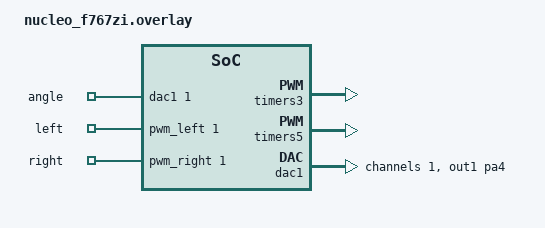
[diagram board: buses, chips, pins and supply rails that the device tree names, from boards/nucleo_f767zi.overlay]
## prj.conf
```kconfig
CONFIG_CONSOLE=y
CONFIG_PRINTK=y
CONFIG_SERIAL=y
CONFIG_UART_CONSOLE=y
CONFIG_SHELL=y
CONFIG_SHELL_BACKEND_SERIAL=y
CONFIG_SHELL_PROMPT_UART="plant> "

CONFIG_GPIO=y
CONFIG_PWM=y
CONFIG_PWM_CAPTURE=y
CONFIG_DAC=y
```

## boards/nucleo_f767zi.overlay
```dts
/ {
	zephyr,user {
		pwms = <&pwm_left 1 20000000 PWM_POLARITY_NORMAL>,
		       <&pwm_right 1 20000000 PWM_POLARITY_NORMAL>;
		pwm-names = "left", "right";
		io-channels = <&dac1 1>;
		io-channel-names = "angle";
	};
};

&timers3 {
	st,prescaler = <107>;
	status = "okay";

	pwm_left: pwm {
		status = "okay";
		pinctrl-0 = <&tim3_ch1_pb4>;
		pinctrl-names = "default";
	};
};

&timers5 {
	st,prescaler = <107>;
	status = "okay";

	pwm_right: pwm {
		status = "okay";
		pinctrl-0 = <&tim5_ch1_pa0>;
		pinctrl-names = "default";
	};
};

&dac1 {
	status = "okay";
	pinctrl-0 = <&dac_out1_pa4>;
	pinctrl-names = "default";
	#address-cells = <1>;
	#size-cells = <0>;

	channel@1 {
		reg = <1>;
		zephyr,resolution = <12>;
		zephyr,buffered;
	};
};
```

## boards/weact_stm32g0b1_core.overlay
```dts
/ {
	zephyr,user {
		pwms = <&pwm_left 0 20000000 PWM_POLARITY_NORMAL>,
		       <&pwm_right 0 20000000 PWM_POLARITY_NORMAL>;
		pwm-names = "left", "right";
		io-channels = <&dac1 1>;
		io-channel-names = "angle";
	};
};

&timers3 {
	st,prescaler = <63>;
	status = "okay";

	pwm_left: pwm {
		status = "okay";
		pinctrl-0 = <&tim3_ch1_pb4>;
		pinctrl-names = "default";
	};
};

&timers15 {
	st,prescaler = <63>;
	status = "okay";

	pwm_right: pwm {
		status = "okay";
		pinctrl-0 = <&tim15_ch1_pb14>;
		pinctrl-names = "default";
	};
};

&dac1 {
	status = "okay";
	pinctrl-0 = <&dac1_out1_pa4>;
	pinctrl-names = "default";
	#address-cells = <1>;
	#size-cells = <0>;

	channel@1 {
		reg = <1>;
		zephyr,resolution = <12>;
		zephyr,buffered;
	};
};
```

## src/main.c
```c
#include <errno.h>
#include <math.h>
#include <stdint.h>
#include <string.h>

#include <zephyr/device.h>
#include <zephyr/devicetree/io-channels.h>
#include <zephyr/drivers/dac.h>
#include <zephyr/drivers/pwm.h>
#include <zephyr/drivers/uart.h>
#include <zephyr/kernel.h>
#include <zephyr/shell/shell.h>
#include <zephyr/sys/printk.h>
#include <zephyr/sys/util.h>

#define APP_NODE DT_PATH(zephyr_user)

#if !DT_NODE_EXISTS(APP_NODE)
#error "Missing zephyr,user node"
#endif

#define PI_F 3.14159265358979323846f

static const struct pwm_dt_spec pwm_left = PWM_DT_SPEC_GET_BY_NAME(APP_NODE, left);
static const struct pwm_dt_spec pwm_right = PWM_DT_SPEC_GET_BY_NAME(APP_NODE, right);

#define ANGLE_DAC_NODE DT_PHANDLE_BY_NAME(APP_NODE, io_channels, angle)
#define ANGLE_DAC_CHANNEL DT_PHA_BY_NAME(APP_NODE, io_channels, angle, output)

#define ANGLE_DAC_RESOLUTION 12U

static const struct device *const angle_dac_dev = DEVICE_DT_GET(ANGLE_DAC_NODE);
static const struct dac_channel_cfg angle_dac_cfg = {
	.channel_id = ANGLE_DAC_CHANNEL,
	.resolution = ANGLE_DAC_RESOLUTION,
	.buffered = true,
};

#define SAMPLE_TIME_MS 50U
#define CAPTURE_TIMEOUT_MS 60U
#define CAPTURE_STALE_LIMIT 5U

#define POT_ADC_CENTER 512.0f
#define POT_ADC_COUNTS_PER_RAD (516.0f / PI_F)
#define ADC_10BIT_MAX 1023.0f

#define ESC_MIN_PULSE_US 1000U
#define ESC_BIDIR_CENTER_PULSE_US 1500U
#define ESC_MAX_PULSE_US 2000U

struct plant_model {
	float b;
	float m;
	float l;
	float g;
	float x;
	float j;
	float gain;
};

struct plant_state {
	float theta_rad;
	float omega_rad_s;
	float left_cmd;
	float right_cmd;
	uint32_t left_period_us;
	uint32_t right_period_us;
	uint32_t left_pulse_us;
	uint32_t right_pulse_us;
};

enum plant_run_state {
	PLANT_STATE_STANDBY,
	PLANT_STATE_ARMED,
	PLANT_STATE_RUNNING,
};

struct dashboard_snapshot {
	enum plant_run_state state;
	uint32_t left_pulse_us;
	uint32_t right_pulse_us;
	float left_cmd;
	float right_cmd;
	float angle_rad;
	uint16_t raw_adc;
	uint16_t dac_code;
};

struct timing_stats {
	uint32_t cycles;
	uint32_t deadline_misses;
	uint32_t last_exec_ms;
	uint32_t max_exec_ms;
	uint64_t exec_sum_ms;
	uint32_t last_dt_ms;
	uint32_t min_dt_ms;
	uint32_t max_dt_ms;
};

struct capture_counters {
	uint32_t ok;
	uint32_t eagain;
	uint32_t ebusy;
	uint32_t other;
	int32_t last_ret;
};

struct pwm_input_state {
	uint32_t period_us;
	uint32_t pulse_us;
	float command;
	uint8_t stale_count;
	bool valid;
};

static volatile struct dashboard_snapshot dashboard = {
	.state = PLANT_STATE_STANDBY,
	.left_pulse_us = ESC_MIN_PULSE_US,
	.right_pulse_us = ESC_MIN_PULSE_US,
};
static volatile bool plant_reset_requested;
static volatile bool esc_bidir_enabled;
static volatile bool dashboard_exit_requested;
static volatile bool dashboard_active;
static const struct shell *dashboard_shell;
static struct k_thread dashboard_thread;
static struct k_thread left_capture_thread;
static struct k_thread right_capture_thread;
static struct timing_stats timing = {
	.min_dt_ms = UINT32_MAX,
};
static struct capture_counters capture_left_stats;
static struct capture_counters capture_right_stats;
static struct pwm_input_state left_input = {
	.period_us = 20000U,
	.pulse_us = ESC_MIN_PULSE_US,
	.command = 0.0f,
	.stale_count = CAPTURE_STALE_LIMIT + 1U,
	.valid = false,
};
static struct pwm_input_state right_input = {
	.period_us = 20000U,
	.pulse_us = ESC_MIN_PULSE_US,
	.command = 0.0f,
	.stale_count = CAPTURE_STALE_LIMIT + 1U,
	.valid = false,
};
static struct k_spinlock input_lock;
K_THREAD_STACK_DEFINE(dashboard_thread_stack, 2048);
K_THREAD_STACK_DEFINE(left_capture_thread_stack, 1024);
K_THREAD_STACK_DEFINE(right_capture_thread_stack, 1024);

static const struct plant_model model = {
	.b = 0.25e-1f,
	.m = 0.70f,
	.l = 0.45f,
	.g = 9.81f,
	.x = 0.012f,
	.j = (0.70f * (2.0f * 0.45f) * (2.0f * 0.45f)) / 12.0f,
	.gain = 0.0016f * ((0.70f * (2.0f * 0.45f) * (2.0f * 0.45f)) / 12.0f) * 0.9f * 10000.0f,
};

static const char *run_state_name(enum plant_run_state state)
{
	switch (state) {
	case PLANT_STATE_STANDBY:
		return "standby";
	case PLANT_STATE_ARMED:
		return "armed";
	case PLANT_STATE_RUNNING:
		return "running";
	default:
		return "unknown";
	}
}

static int capture_pwm_usec(const struct pwm_dt_spec *spec, uint32_t *period_us, uint32_t *pulse_us)
{
	uint64_t period = 0U;
	uint64_t pulse = 0U;
	int ret = pwm_capture_usec(spec->dev, spec->channel,
				   PWM_CAPTURE_TYPE_BOTH | PWM_CAPTURE_MODE_SINGLE | spec->flags,
				   &period, &pulse, Z_TIMEOUT_MS(CAPTURE_TIMEOUT_MS));

	if (ret == 0) {
		*period_us = (uint32_t)period;
		*pulse_us = (uint32_t)pulse;
	}

	return ret;
}

static float esc_pulse_to_command(uint32_t pulse_us)
{
	uint32_t clamped = CLAMP(pulse_us, ESC_MIN_PULSE_US, ESC_MAX_PULSE_US);

	if (esc_bidir_enabled) {
		if (clamped == ESC_BIDIR_CENTER_PULSE_US) {
			return 0.0f;
		}

		if (clamped > ESC_BIDIR_CENTER_PULSE_US) {
			return (float)(clamped - ESC_BIDIR_CENTER_PULSE_US) /
			       (float)(ESC_MAX_PULSE_US - ESC_BIDIR_CENTER_PULSE_US);
		}

		return -((float)(ESC_BIDIR_CENTER_PULSE_US - clamped) /
			 (float)(ESC_BIDIR_CENTER_PULSE_US - ESC_MIN_PULSE_US));
	}

	if (clamped <= ESC_MIN_PULSE_US) {
		return 0.0f;
	}

	return (float)(clamped - ESC_MIN_PULSE_US) /
	       (float)(ESC_MAX_PULSE_US - ESC_MIN_PULSE_US);
}

static bool update_motor_command(const struct pwm_dt_spec *spec,
				 uint32_t *period_us,
				 uint32_t *pulse_us,
				 float *command,
				 uint8_t *stale_count,
				 struct capture_counters *counters)
{
	int ret = capture_pwm_usec(spec, period_us, pulse_us);
	counters->last_ret = ret;

	if (ret == -EBUSY) {
		counters->ebusy++;
		pwm_disable_capture(spec->dev, spec->channel);
		*command = 0.0f;
		*stale_count = CAPTURE_STALE_LIMIT + 1U;
		return false;
	}

	if (ret == -EAGAIN) {
		counters->eagain++;
		if (*stale_count < UINT8_MAX) {
			(*stale_count)++;
		}

		if (*stale_count > CAPTURE_STALE_LIMIT) {
			*command = 0.0f;
			return false;
		}

		return true;
	}

	if (ret != 0) {
		counters->other++;
		*command = 0.0f;
		*stale_count = CAPTURE_STALE_LIMIT + 1U;
		return false;
	}

	counters->ok++;
	*command = esc_pulse_to_command(*pulse_us);
	*stale_count = 0U;
	return true;
}

static void reset_pwm_input_state(struct pwm_input_state *input)
{
	input->period_us = 20000U;
	input->pulse_us = ESC_MIN_PULSE_US;
	input->command = 0.0f;
	input->stale_count = CAPTURE_STALE_LIMIT + 1U;
	input->valid = false;
}

static void pwm_capture_thread_fn(void *arg1, void *arg2, void *arg3)
{
	const struct pwm_dt_spec *spec = arg1;
	struct pwm_input_state *input = arg2;
	struct capture_counters *counters = arg3;
	uint32_t period_us = 20000U;
	uint32_t pulse_us = ESC_MIN_PULSE_US;
	float command = 0.0f;
	uint8_t stale_count = CAPTURE_STALE_LIMIT + 1U;

	while (1) {
		bool valid = update_motor_command(spec, &period_us, &pulse_us, &command,
						  &stale_count, counters);
		k_spinlock_key_t key = k_spin_lock(&input_lock);
		input->period_us = period_us;
		input->pulse_us = pulse_us;
		input->command = command;
		input->stale_count = stale_count;
		input->valid = valid;
		k_spin_unlock(&input_lock, key);
	}
}

static void reset_capture_stats(void)
{
	capture_left_stats.ok = 0U;
	capture_left_stats.eagain = 0U;
	capture_left_stats.ebusy = 0U;
	capture_left_stats.other = 0U;
	capture_left_stats.last_ret = 0;

	capture_right_stats.ok = 0U;
	capture_right_stats.eagain = 0U;
	capture_right_stats.ebusy = 0U;
	capture_right_stats.other = 0U;
	capture_right_stats.last_ret = 0;
}

static enum plant_run_state detect_run_state(bool left_valid, bool right_valid,
					     const struct plant_state *state)
{
	if (!left_valid || !right_valid) {
		return PLANT_STATE_STANDBY;
	}

	if ((state->left_cmd != 0.0f) || (state->right_cmd != 0.0f)) {
		return PLANT_STATE_RUNNING;
	}

	return PLANT_STATE_ARMED;
}

static void print_run_state(enum plant_run_state state)
{
	printk("%s\n", run_state_name(state));
}

static void step_plant(struct plant_state *state, float dt_s)
{
	const float torque_term = model.gain * (state->left_cmd - state->right_cmd);
	const float damping_term = model.b * state->omega_rad_s;
	const float gravity_term = model.m * model.g * model.x * sinf(state->theta_rad);
	const float alpha_rad_s2 = (torque_term - damping_term - gravity_term) / model.j;

	state->omega_rad_s += alpha_rad_s2 * dt_s;
	state->theta_rad += state->omega_rad_s * dt_s;
	state->theta_rad = CLAMP(state->theta_rad, -PI_F, PI_F);
}

static void reset_timing_stats(void)
{
	timing.cycles = 0U;
	timing.deadline_misses = 0U;
	timing.last_exec_ms = 0U;
	timing.max_exec_ms = 0U;
	timing.exec_sum_ms = 0U;
	timing.last_dt_ms = 0U;
	timing.min_dt_ms = UINT32_MAX;
	timing.max_dt_ms = 0U;
}

static void update_timing_stats(uint32_t exec_ms, uint32_t dt_ms, bool deadline_missed)
{
	timing.cycles++;
	timing.last_exec_ms = exec_ms;
	timing.max_exec_ms = MAX(timing.max_exec_ms, exec_ms);
	timing.exec_sum_ms += exec_ms;
	timing.last_dt_ms = dt_ms;
	timing.min_dt_ms = MIN(timing.min_dt_ms, dt_ms);
	timing.max_dt_ms = MAX(timing.max_dt_ms, dt_ms);

	if (deadline_missed) {
		timing.deadline_misses++;
	}
}

static uint16_t angle_to_dac_code(float theta_rad)
{
	float clamped_adc = CLAMP(POT_ADC_CENTER + theta_rad * POT_ADC_COUNTS_PER_RAD,
				  0.0f, ADC_10BIT_MAX);
	float dac_counts = (clamped_adc / ADC_10BIT_MAX) * 4095.0f;

	return (uint16_t)CLAMP((int)lroundf(dac_counts), 0, 4095);
}

static uint16_t angle_to_raw_adc(float theta_rad)
{
	float adc_counts = POT_ADC_CENTER + theta_rad * POT_ADC_COUNTS_PER_RAD;

	return (uint16_t)CLAMP((int)lroundf(adc_counts), 0, (int)ADC_10BIT_MAX);
}

static void dashboard_bypass_cb(const struct shell *sh, uint8_t *data, size_t len, void *user_data)
{
	ARG_UNUSED(sh);
	ARG_UNUSED(data);
	ARG_UNUSED(len);
	ARG_UNUSED(user_data);

	dashboard_exit_requested = true;
}

static void dashboard_thread_fn(void *arg1, void *arg2, void *arg3)
{
	const struct shell *sh = arg1;

	ARG_UNUSED(arg2);
	ARG_UNUSED(arg3);

	while (!dashboard_exit_requested) {
		int32_t angle_cdeg = (int32_t)lroundf((dashboard.angle_rad * 18000.0f) / PI_F);
		int32_t left_pct_tenths = (int32_t)lroundf(dashboard.left_cmd * 1000.0f);
		int32_t right_pct_tenths = (int32_t)lroundf(dashboard.right_cmd * 1000.0f);

		shell_fprintf(sh, SHELL_NORMAL,
			      "\033[2J\033[H"
			      "HIL dashboard\n"
			      "state: %s\n"
			      "esc mode   : %s\n"
			      "left input : %4u us  %4d.%1u %%\n"
			      "right input: %4u us  %4d.%1u %%\n"
			      "raw adc    : %4u\n"
			      "angle      : %4d.%02d deg\n"
			      "dac value  : %4u\n",
			      run_state_name(dashboard.state),
			      esc_bidir_enabled ? "bidir" : "forward",
			      dashboard.left_pulse_us,
			      left_pct_tenths / 10,
			      (left_pct_tenths < 0) ? -(left_pct_tenths % 10) : (left_pct_tenths % 10),
			      dashboard.right_pulse_us,
			      right_pct_tenths / 10,
			      (right_pct_tenths < 0) ? -(right_pct_tenths % 10) : (right_pct_tenths % 10),
			      dashboard.raw_adc,
			      angle_cdeg / 100,
			      (angle_cdeg < 0) ? -(angle_cdeg % 100) : (angle_cdeg % 100),
			      dashboard.dac_code);
		k_msleep(200);
	}

	shell_set_bypass(sh, NULL, NULL);
	shell_print(sh, "dashboard stopped");
	dashboard_active = false;
	dashboard_shell = NULL;
}

static void reset_plant_state(struct plant_state *state)
{
	state->theta_rad = 0.0f;
	state->omega_rad_s = 0.0f;
	state->left_cmd = 0.0f;
	state->right_cmd = 0.0f;
	state->left_period_us = 20000U;
	state->right_period_us = 20000U;
	state->left_pulse_us = ESC_MIN_PULSE_US;
	state->right_pulse_us = ESC_MIN_PULSE_US;
}

static int cmd_dashboard(const struct shell *sh, size_t argc, char **argv)
{
	ARG_UNUSED(argc);
	ARG_UNUSED(argv);

	if (dashboard_active) {
		shell_error(sh, "dashboard already running");
		return -EBUSY;
	}

	shell_print(sh, "Press any key to stop");
	dashboard_active = true;
	dashboard_shell = sh;
	dashboard_exit_requested = false;
	shell_set_bypass(sh, dashboard_bypass_cb, NULL);

	k_thread_create(&dashboard_thread, dashboard_thread_stack,
			K_THREAD_STACK_SIZEOF(dashboard_thread_stack),
			dashboard_thread_fn, (void *)sh, NULL, NULL,
			K_LOWEST_APPLICATION_THREAD_PRIO, 0, K_NO_WAIT);

	return 0;
}

static int cmd_plant_reset(const struct shell *sh, size_t argc, char **argv)
{
	ARG_UNUSED(argc);
	ARG_UNUSED(argv);

	plant_reset_requested = true;
	shell_print(sh, "plant reset requested");

	return 0;
}

static int cmd_plant_esc_set_bidir_on(const struct shell *sh, size_t argc, char **argv)
{
	ARG_UNUSED(argc);
	ARG_UNUSED(argv);

	esc_bidir_enabled = true;
	shell_print(sh, "ESC bidirectional mode enabled");

	return 0;
}

static int cmd_plant_esc_set_bidir_off(const struct shell *sh, size_t argc, char **argv)
{
	ARG_UNUSED(argc);
	ARG_UNUSED(argv);

	esc_bidir_enabled = false;
	shell_print(sh, "ESC bidirectional mode disabled");

	return 0;
}

static int cmd_plant_timing(const struct shell *sh, size_t argc, char **argv)
{
	uint32_t avg_exec_ms;
	uint32_t last_util_tenths;
	uint32_t avg_util_tenths;
	uint32_t max_util_tenths;
	int32_t worst_slack_ms;

	if ((argc > 1) && (strcmp(argv[1], "reset") == 0)) {
		reset_timing_stats();
		shell_print(sh, "timing stats reset");
		return 0;
	}

	if (timing.cycles == 0U) {
		shell_print(sh, "timing: no samples yet");
		return 0;
	}

	avg_exec_ms = (uint32_t)(timing.exec_sum_ms / timing.cycles);
	last_util_tenths = (timing.last_exec_ms * 1000U) / SAMPLE_TIME_MS;
	avg_util_tenths = (avg_exec_ms * 1000U) / SAMPLE_TIME_MS;
	max_util_tenths = (timing.max_exec_ms * 1000U) / SAMPLE_TIME_MS;
	worst_slack_ms = (int32_t)SAMPLE_TIME_MS - (int32_t)timing.max_exec_ms;

	shell_print(sh,
			"timing: cycles=%u misses=%u last_exec=%u ms avg_exec=%u ms max_exec=%u ms last_dt=%u ms min_dt=%u ms max_dt=%u ms",
			timing.cycles,
			timing.deadline_misses,
			timing.last_exec_ms,
			avg_exec_ms,
			timing.max_exec_ms,
			timing.last_dt_ms,
			timing.min_dt_ms,
			timing.max_dt_ms);
	shell_print(sh,
			"budget: last=%u.%u%% avg=%u.%u%% max=%u.%u%% worst_slack=%d ms",
			last_util_tenths / 10U,
			last_util_tenths % 10U,
			avg_util_tenths / 10U,
			avg_util_tenths % 10U,
			max_util_tenths / 10U,
			max_util_tenths % 10U,
			worst_slack_ms);

	return 0;
}

static int cmd_plant_capture(const struct shell *sh, size_t argc, char **argv)
{
	if ((argc > 1) && (strcmp(argv[1], "reset") == 0)) {
		reset_capture_stats();
		shell_print(sh, "capture stats reset");
		return 0;
	}

	shell_print(sh,
			"capture left : ok=%u eagain=%u ebusy=%u other=%u last_ret=%d",
			capture_left_stats.ok,
			capture_left_stats.eagain,
			capture_left_stats.ebusy,
			capture_left_stats.other,
			capture_left_stats.last_ret);
	shell_print(sh,
			"capture right: ok=%u eagain=%u ebusy=%u other=%u last_ret=%d",
			capture_right_stats.ok,
			capture_right_stats.eagain,
			capture_right_stats.ebusy,
			capture_right_stats.other,
			capture_right_stats.last_ret);

	return 0;
}

SHELL_STATIC_SUBCMD_SET_CREATE(sub_plant_esc_set_bidir,
	SHELL_CMD(on, NULL, "Enable bidirectional ESC input mode", cmd_plant_esc_set_bidir_on),
	SHELL_CMD(off, NULL, "Disable bidirectional ESC input mode", cmd_plant_esc_set_bidir_off),
	SHELL_SUBCMD_SET_END
);

SHELL_STATIC_SUBCMD_SET_CREATE(sub_plant_esc_set,
	SHELL_CMD(bidir, &sub_plant_esc_set_bidir, "Set ESC bidirectional mode", NULL),
	SHELL_SUBCMD_SET_END
);

SHELL_STATIC_SUBCMD_SET_CREATE(sub_plant_esc,
	SHELL_CMD(set, &sub_plant_esc_set, "ESC settings", NULL),
	SHELL_SUBCMD_SET_END
);

SHELL_STATIC_SUBCMD_SET_CREATE(sub_plant,
	SHELL_CMD(dashboard, NULL, "Show live plant dashboard; press any key to stop",
		  cmd_dashboard),
	SHELL_CMD(reset, NULL, "Reset plant state to zero", cmd_plant_reset),
	SHELL_CMD(timing, NULL, "Show timing stats; use 'plant timing reset' to clear",
		  cmd_plant_timing),
	SHELL_CMD(capture, NULL, "Show capture stats; use 'plant capture reset' to clear",
		  cmd_plant_capture),
	SHELL_CMD(esc, &sub_plant_esc, "ESC configuration commands", NULL),
	SHELL_SUBCMD_SET_END
);

SHELL_CMD_REGISTER(plant, &sub_plant, "Plant control commands", NULL);

int main(void)
{
	struct plant_state state = {
		.left_period_us = 2040U,
		.right_period_us = 2040U,
		.left_pulse_us = ESC_MIN_PULSE_US,
		.right_pulse_us = ESC_MIN_PULSE_US,
	};
	enum plant_run_state current_state = PLANT_STATE_STANDBY;
	int64_t last_step_ms;
	int64_t next_release_ms;
	int ret;

	if (!pwm_is_ready_dt(&pwm_left) || !pwm_is_ready_dt(&pwm_right)) {
		printk("PWM capture device not ready\n");
		return 0;
	}

	if (!device_is_ready(angle_dac_dev)) {
		printk("DAC device not ready\n");
		return 0;
	}

	ret = dac_channel_setup(angle_dac_dev, &angle_dac_cfg);
	if (ret != 0) {
		printk("DAC channel setup failed: %d\n", ret);
		return 0;
	}

	ret = dac_write_value(angle_dac_dev, angle_dac_cfg.channel_id,
			      angle_to_dac_code(0.0f));
	if (ret != 0) {
		printk("Initial DAC write failed: %d\n", ret);
		return 0;
	}

	printk("HIL plant started on %s\n", CONFIG_BOARD_TARGET);
	printk("Console: board default UART @ 115200\n");
	printk("PWM in: left=PB4 right=PA0, DAC out: PA4\n");
	print_run_state(current_state);

	reset_timing_stats();
	reset_capture_stats();
	reset_pwm_input_state(&left_input);
	reset_pwm_input_state(&right_input);
	k_thread_create(&left_capture_thread, left_capture_thread_stack,
			K_THREAD_STACK_SIZEOF(left_capture_thread_stack),
			pwm_capture_thread_fn, (void *)&pwm_left, (void *)&left_input,
			(void *)&capture_left_stats, K_LOWEST_APPLICATION_THREAD_PRIO,
			0, K_NO_WAIT);
	k_thread_create(&right_capture_thread, right_capture_thread_stack,
			K_THREAD_STACK_SIZEOF(right_capture_thread_stack),
			pwm_capture_thread_fn, (void *)&pwm_right, (void *)&right_input,
			(void *)&capture_right_stats, K_LOWEST_APPLICATION_THREAD_PRIO,
			0, K_NO_WAIT);
	last_step_ms = k_uptime_get();
	next_release_ms = last_step_ms + SAMPLE_TIME_MS;

	while (1) {
		uint16_t raw_adc;
		uint16_t dac_code;
		int64_t loop_start_ms = k_uptime_get();
		int64_t now_ms;
		int64_t dt_ms;
		float dt_s;
		bool left_valid;
		bool right_valid;

		if (plant_reset_requested) {
			reset_plant_state(&state);
			k_spinlock_key_t key = k_spin_lock(&input_lock);
			reset_pwm_input_state(&left_input);
			reset_pwm_input_state(&right_input);
			k_spin_unlock(&input_lock, key);
			current_state = PLANT_STATE_STANDBY;
			plant_reset_requested = false;
			print_run_state(current_state);
		}

		k_spinlock_key_t key = k_spin_lock(&input_lock);
		state.left_period_us = left_input.period_us;
		state.left_pulse_us = left_input.pulse_us;
		state.left_cmd = left_input.command;
		left_valid = left_input.valid;
		state.right_period_us = right_input.period_us;
		state.right_pulse_us = right_input.pulse_us;
		state.right_cmd = right_input.command;
		right_valid = right_input.valid;
		k_spin_unlock(&input_lock, key);

		enum plant_run_state next_state = detect_run_state(left_valid, right_valid, &state);

		if (next_state != current_state) {
			current_state = next_state;
			print_run_state(current_state);
		}

		now_ms = k_uptime_get();
		dt_ms = now_ms - last_step_ms;
		if (dt_ms <= 0) {
			dt_ms = SAMPLE_TIME_MS;
		}
		dt_s = (float)dt_ms / 1000.0f;
		step_plant(&state, dt_s);
		last_step_ms = now_ms;

		raw_adc = angle_to_raw_adc(state.theta_rad);
		dac_code = angle_to_dac_code(state.theta_rad);

		ret = dac_write_value(angle_dac_dev, angle_dac_cfg.channel_id,
				      dac_code);
		if (ret != 0) {
			printk("DAC write failed: %d\n", ret);
		}

		dashboard.state = current_state;
		dashboard.left_pulse_us = state.left_pulse_us;
		dashboard.right_pulse_us = state.right_pulse_us;
		dashboard.left_cmd = state.left_cmd;
		dashboard.right_cmd = state.right_cmd;
		dashboard.angle_rad = state.theta_rad;
		dashboard.raw_adc = raw_adc;
		dashboard.dac_code = dac_code;

		now_ms = k_uptime_get();
		bool deadline_missed = (now_ms > next_release_ms);
		update_timing_stats((uint32_t)(now_ms - loop_start_ms), (uint32_t)dt_ms,
				    deadline_missed);

		if (!deadline_missed) {
			k_msleep((uint32_t)(next_release_ms - now_ms));
		}

		now_ms = k_uptime_get();
		next_release_ms += SAMPLE_TIME_MS;
		if (next_release_ms <= now_ms) {
			next_release_ms = now_ms + SAMPLE_TIME_MS;
		}
	}

	return 0;
}
```
